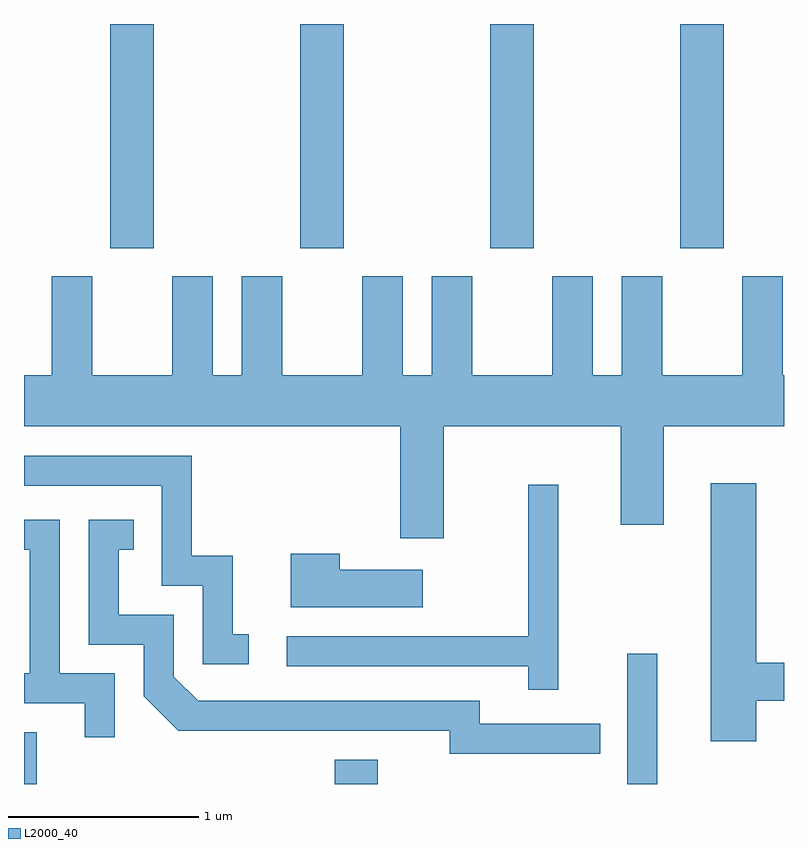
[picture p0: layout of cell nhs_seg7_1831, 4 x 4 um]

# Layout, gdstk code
import gdstk
lib = gdstk.Library(unit=1e-6, precision=1e-09)
def R(c, l, rs):  # rectangles x0, y0, x1, y1
    for r in rs: c.add(gdstk.rectangle(r[:2], r[2:], *l))
def A(c, l, x, y, w, h, nx, ny, dx, dy):  # array of equal rectangles
    R(c, l, [(x+i*dx, y+j*dy, x+i*dx+w, y+j*dy+h) for i in range(nx) for j in range(ny)])
def P(c, l, *ps):  # polygons
    for p in ps: c.add(gdstk.Polygon(p, *l))
L2000_40 = (2000, 40)

nhs_seg7_1831 = lib.new_cell('nhs_seg7_1831')
A(nhs_seg7_1831, L2000_40, 242.066, 1673.071, 0.228, 1.181, 4, 1, 1, 0)
R(nhs_seg7_1831, L2000_40, [(241.611,1670.252,241.679,1670.524), (243.246,1670.252,243.474,1670.379), (244.786,1670.252,244.944,1670.938)])
P(nhs_seg7_1831, L2000_40, [(245.391,1672.924),(245.391,1672.404),(244.969,1672.404),(244.969,1672.924),(244.756,1672.924),(244.756,1672.404),(244.604,1672.404),(244.604,1672.924),(244.391,1672.924),(244.391,1672.404),(243.969,1672.404),(243.969,1672.924),(243.756,1672.924),(243.756,1672.404),(243.604,1672.404),(243.604,1672.924),(243.391,1672.924),(243.391,1672.404),(242.969,1672.404),(242.969,1672.924),(242.756,1672.924),(242.756,1672.404),(242.604,1672.404),(242.604,1672.924),(242.391,1672.924),(242.391,1672.404),(241.969,1672.404),(241.969,1672.924),(241.756,1672.924),(241.756,1672.404),(241.611,1672.404),(241.611,1672.136),(243.591,1672.136),(243.591,1671.546),(243.819,1671.546),(243.819,1672.136),(244.751,1672.136),(244.751,1671.616),(244.979,1671.616),(244.979,1672.136),(245.611,1672.136),(245.611,1672.404),(245.604,1672.404),(245.604,1672.924)],
  [(242.793,1671.039),(242.709,1671.039),(242.709,1671.454),(242.494,1671.454),(242.494,1671.979),(241.611,1671.979),(241.611,1671.821),(242.336,1671.821),(242.336,1671.296),(242.551,1671.296),(242.551,1670.881),(242.793,1670.881)],
  [(245.464,1670.691),(245.611,1670.691),(245.611,1670.889),(245.464,1670.889),(245.464,1671.834),(245.226,1671.834),(245.226,1670.476),(245.464,1670.476)],
  [(244.424,1671.828),(244.266,1671.828),(244.266,1671.029),(242.993,1671.029),(242.993,1670.871),(244.266,1670.871),(244.266,1670.748),(244.424,1670.748)],
  [(242.089,1670.834),(241.799,1670.834),(241.799,1671.644),(241.611,1671.644),(241.611,1671.486),(241.641,1671.486),(241.641,1670.834),(241.611,1670.834),(241.611,1670.676),(241.931,1670.676),(241.931,1670.498),(242.089,1670.498)],
  [(244.643,1670.569),(244.009,1670.569),(244.009,1670.689),(242.527,1670.689),(242.399,1670.817),(242.399,1671.144),(242.109,1671.144),(242.109,1671.486),(242.188,1671.486),(242.188,1671.644),(241.951,1671.644),(241.951,1670.986),(242.241,1670.986),(242.241,1670.714),(242.424,1670.531),(243.851,1670.531),(243.851,1670.411),(244.643,1670.411)],
  [(243.709,1671.379),(243.274,1671.379),(243.274,1671.464),(243.016,1671.464),(243.016,1671.181),(243.709,1671.181)])

lib.write_gds('nhs_seg7_1831.gds')
